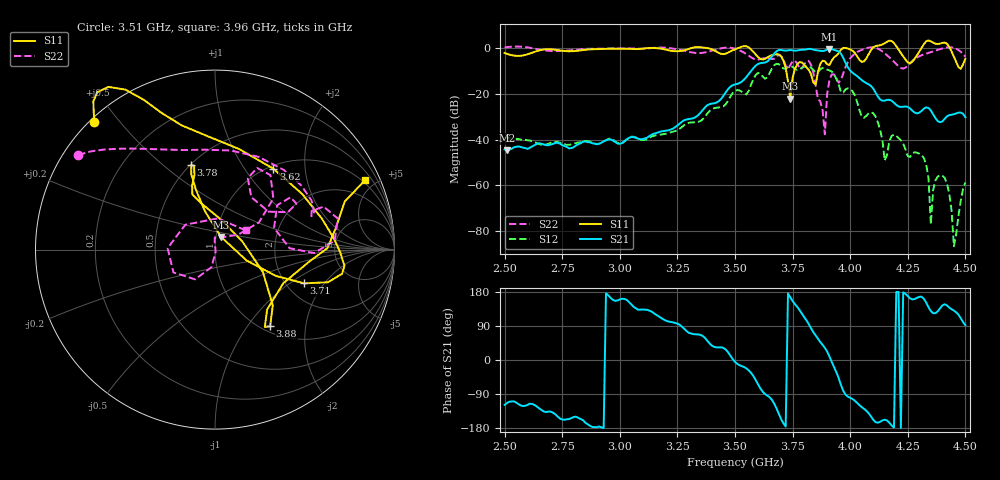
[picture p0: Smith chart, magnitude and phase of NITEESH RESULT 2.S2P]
!Agilent Technologies,E5071C,MY46520292,B.13.20
!Date: Sun Dec 10 03:13:09 2023
!Data & Calibration Information:
!Freq	S11:SOLT2(ON)	S21:SOLT2(ON)	S12:SOLT2(ON)	S22:SOLT2(ON)
!PortZ  Port1:50+j0  Port2:50+j0
!Above PortZ is port z conversion or system Z0 setting when saving the data.
!When reading, reference impedance value at option line is always used.
# Hz S dB R 50
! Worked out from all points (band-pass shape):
!   201 points, 2.5 GHz to 4.5 GHz, reference 50 ohm
!   highest |S21| = -0.42 dB at 3.91 GHz (marker M1); lowest = -44.6 dB at 2.51 GHz (marker M2)
!   |S21| within 3 dB of the highest: 3.663 GHz to 3.965 GHz (301.9 MHz wide, 7.92 % of centre)
!   lowest |S11| = -22.1 dB at 3.74 GHz (marker M3), VSWR 1.17, Z = 53 + j7.52 ohm
!   |S11| at or under -10 dB: 3.722 GHz to 3.758 GHz (35.51 MHz wide, 0.95 % of centre); 3.822 GHz to 3.862 GHz (39.49 MHz wide, 1.03 % of centre)
!   |S22| runs from -37.7 to 0.6 dB; largest |S21 - S12| = 0.76
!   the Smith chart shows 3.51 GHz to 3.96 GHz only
!   S11 on the Smith chart (normalised r, x): 3.51 GHz: 0.01, +0.43; 3.62 GHz: 1.05, +1.37; 3.71 GHz: 2.49, -1.30; 3.78 GHz: 0.51, +0.63; 3.88 GHz: 1.09, -1.29; 3.96 GHz: 0.88, +4.38
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2.5e9  -2.23 -9.2  -44.28 -118.4  -39.25 -101.6  0.17 -4.9
2.51e9  -2.58 -9.4  -44.64 -113.7  -39.23 -101.9  0.33 -5.4
2.84e9  -0.94 -40.7  -40.95 -158.8  -40.83 -164.8  -0.47 -52.6
3.17e9  -0.20 -98.4  -36.71 114.6  -37.91 110.7  0.16 -107.7
3.5e9  -0.61 137.0  -15.93 -5.1  -18.72 -17.3  -0.33 148.9
3.51e9  -0.20 133.5  -15.69 -10.4  -18.38 -29.8  -0.67 145.3
3.62e9  -5.10 54.2  -6.52 -83.4  -12.46 -111.6  -4.63 49.1
3.71e9  -5.50 -20.7  -1.10 -166.9  -8.96 166.6  -5.15 -2.0
3.74e9  -22.13 64.3  -0.92 165.4  -7.93 143.3  -7.43 35.5
3.78e9  -6.22 105.8  -0.91 131.8  -9.41 111.6  -8.73 35.3
3.84e9  -15.10 81.7  -0.74 73.5  -9.65 41.8  -10.80 31.8
3.88e9  -5.58 -54.3  -1.38 39.9  -8.77 12.2  -27.04 91.7
3.89e9  -5.80 -57.2  -1.18 32.1  -8.93 -4.3  -37.67 -74.6
3.91e9  -7.44 -26.1  -0.42 9.1  -9.83 -32.1  -14.00 -123.7
3.96e9  -0.73 24.8  -2.53 -66.0  -19.37 -95.2  -13.88 31.8
4.17e9  3.16 -58.5  -22.63 -165.6  -40.60 -159.2  -4.12 -33.3
4.27e9  -5.93 -122.2  -27.39 160.0  -46.03 134.2  -5.69 -109.2
4.32e9  1.70 -126.7  -26.49 161.2  -48.09 73.4  -2.83 -116.1
4.35e9  2.87 -131.6  -27.30 129.1  -76.98 -38.0  -1.84 -110.7
4.38e9  1.70 -111.4  -31.93 128.5  -56.12 141.8  -0.87 -102.5
4.45e9  -3.80 -98.5  -28.92 130.4  -86.47 46.8  0.05 -89.7
4.5e9  -4.73 176.8  -30.22 91.8  -58.67 -129.8  -3.83 -91.0
